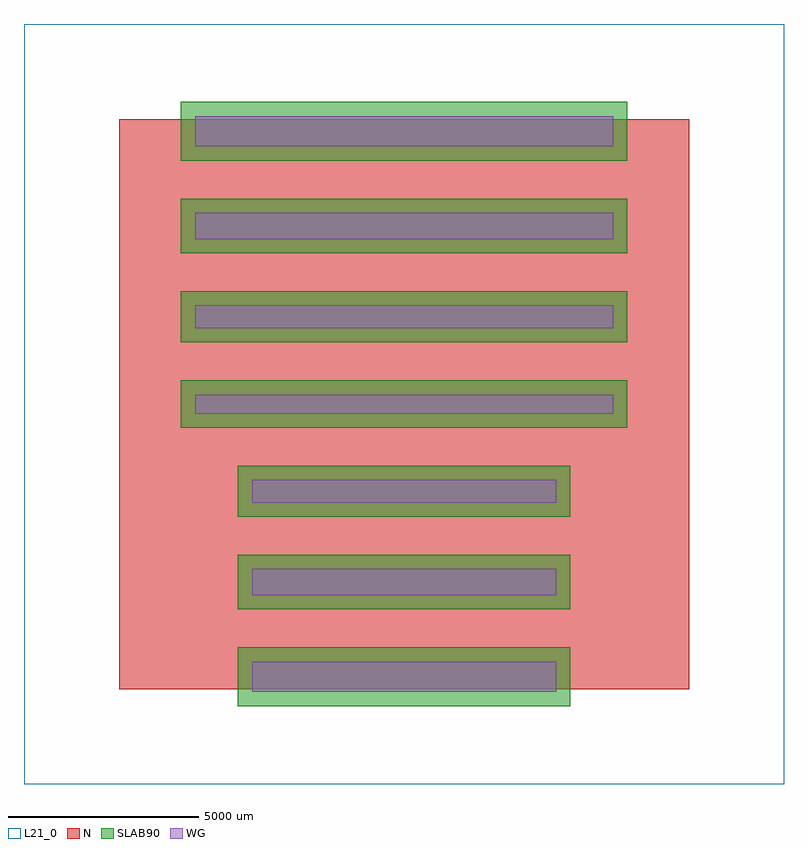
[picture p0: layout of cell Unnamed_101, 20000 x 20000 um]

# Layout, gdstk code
import gdstk
lib = gdstk.Library(unit=1e-6, precision=1e-09)
def R(c, l, rs):  # rectangles x0, y0, x1, y1
    for r in rs: c.add(gdstk.rectangle(r[:2], r[2:], *l))
WG = (1, 0)
SLAB90 = (3, 0)
N = (20, 0)
L21_0 = (21, 0)

rectangle_s8742p34_1542_ = lib.new_cell('rectangle_S8742p34_1542_3cb4d86e')
R(rectangle_s8742p34_1542_, SLAB90, [(0,0,8742.34,1542.34)])

rectangle_s8000_800_l1__ = lib.new_cell('rectangle_S8000_800_L1__9d6789f8')
R(rectangle_s8000_800_l1__, WG, [(0,0,8000,800)])

rectangle_s8742p34_1442_ = lib.new_cell('rectangle_S8742p34_1442_b5d4945f')
R(rectangle_s8742p34_1442_, SLAB90, [(0,0,8742.34,1442.34)])

rectangle_s8742p34_1242_ = lib.new_cell('rectangle_S8742p34_1242_e0d1e8f0')
R(rectangle_s8742p34_1242_, SLAB90, [(0,0,8742.34,1242.34)])

rectangle_s8000_700_l1__ = lib.new_cell('rectangle_S8000_700_L1__8f333247')
R(rectangle_s8000_700_l1__, WG, [(0,0,8000,700)])

rectangle_s11742p34_154_ = lib.new_cell('rectangle_S11742p34_154_534265d7')
R(rectangle_s11742p34_154_, SLAB90, [(0,0,11742.34,1542.34)])

rectangle_s8000_600_l1__ = lib.new_cell('rectangle_S8000_600_L1__39d5b34f')
R(rectangle_s8000_600_l1__, WG, [(0,0,8000,600)])

rectangle_s11742p34_144_ = lib.new_cell('rectangle_S11742p34_144_7962ba5a')
R(rectangle_s11742p34_144_, SLAB90, [(0,0,11742.34,1442.34)])

rectangle_s11000_700_l1_ = lib.new_cell('rectangle_S11000_700_L1_ddf4a92d')
R(rectangle_s11000_700_l1_, WG, [(0,0,11000,700)])

rectangle_s11742p34_134_ = lib.new_cell('rectangle_S11742p34_134_53d7302a')
R(rectangle_s11742p34_134_, SLAB90, [(0,0,11742.34,1342.34)])

rectangle_s8000_500_l1__ = lib.new_cell('rectangle_S8000_500_L1__00e8b23c')
R(rectangle_s8000_500_l1__, WG, [(0,0,8000,500)])

rectangle_s11000_600_l1_ = lib.new_cell('rectangle_S11000_600_L1_89c6ff42')
R(rectangle_s11000_600_l1_, WG, [(0,0,11000,600)])

rectangle_s11000_500_l1_ = lib.new_cell('rectangle_S11000_500_L1_e8eac09b')
R(rectangle_s11000_500_l1_, WG, [(0,0,11000,500)])

rectangle_s11742p34_124_ = lib.new_cell('rectangle_S11742p34_124_35634cfc')
R(rectangle_s11742p34_124_, SLAB90, [(0,0,11742.34,1242.34)])

rectangle_s8742p34_1342_ = lib.new_cell('rectangle_S8742p34_1342_f559c29b')
R(rectangle_s8742p34_1342_, SLAB90, [(0,0,8742.34,1342.34)])

rectangle_s11000_800_l1_ = lib.new_cell('rectangle_S11000_800_L1_c1175e7f')
R(rectangle_s11000_800_l1_, WG, [(0,0,11000,800)])

rectangle_s15000_15000__ = lib.new_cell('rectangle_S15000_15000__6a6c2047')
R(rectangle_s15000_15000__, N, [(0,0,15000,15000)])

rectangle_s20000_20000__ = lib.new_cell('rectangle_S20000_20000__aa48e1ac')
R(rectangle_s20000_20000__, L21_0, [(0,0,20000,20000)])

unnamed_101 = lib.new_cell('Unnamed_101')
unnamed_101.add(gdstk.Reference(rectangle_s8742p34_1542_, (-4371.17,-7948.19)))
unnamed_101.add(gdstk.Reference(rectangle_s8000_800_l1__, (-4000,-7577.02)))
unnamed_101.add(gdstk.Reference(rectangle_s8742p34_1442_, (-4371.17,-5405.85)))
unnamed_101.add(gdstk.Reference(rectangle_s8742p34_1242_, (-4371.17,-621.17)))
unnamed_101.add(gdstk.Reference(rectangle_s8000_700_l1__, (-4000,-5034.68)))
unnamed_101.add(gdstk.Reference(rectangle_s11742p34_154_, (-5871.17,6405.85)))
unnamed_101.add(gdstk.Reference(rectangle_s8000_600_l1__, (-4000,-2592.34)))
unnamed_101.add(gdstk.Reference(rectangle_s11742p34_144_, (-5871.17,3963.51)))
unnamed_101.add(gdstk.Reference(rectangle_s11000_700_l1_, (-5500,4334.68)))
unnamed_101.add(gdstk.Reference(rectangle_s11742p34_134_, (-5871.17,1621.17)))
unnamed_101.add(gdstk.Reference(rectangle_s8000_500_l1__, (-4000,-250)))
unnamed_101.add(gdstk.Reference(rectangle_s11000_600_l1_, (-5500,1992.34)))
unnamed_101.add(gdstk.Reference(rectangle_s11000_500_l1_, (-5500,-250)))
unnamed_101.add(gdstk.Reference(rectangle_s11742p34_124_, (-5871.17,-621.17)))
unnamed_101.add(gdstk.Reference(rectangle_s8742p34_1342_, (-4371.17,-2963.51)))
unnamed_101.add(gdstk.Reference(rectangle_s11000_800_l1_, (-5500,6777.02)))
unnamed_101.add(gdstk.Reference(rectangle_s15000_15000__, (-7500,-7500)))
unnamed_101.add(gdstk.Reference(rectangle_s20000_20000__, (-10000,-10000)))

lib.write_gds('Unnamed_101.gds')
